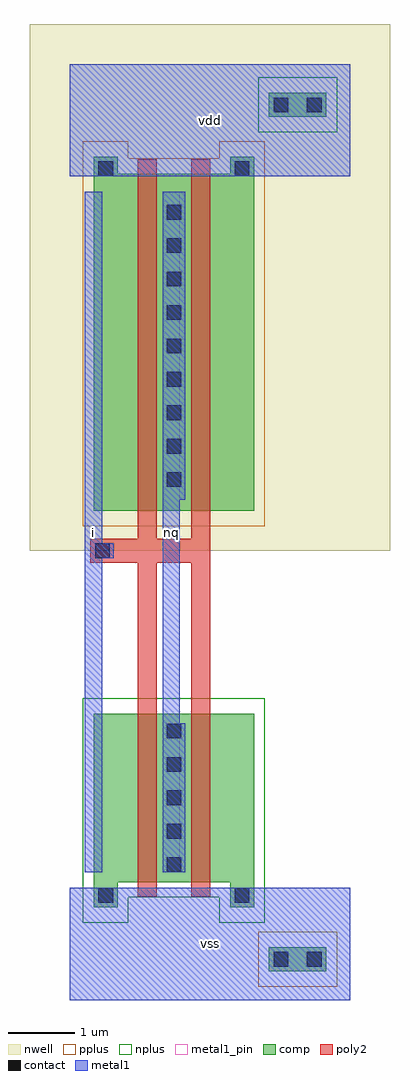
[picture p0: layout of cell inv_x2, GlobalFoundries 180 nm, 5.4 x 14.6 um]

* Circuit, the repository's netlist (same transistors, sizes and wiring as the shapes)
* inv_x2
.subckt inv_x2 vdd vss i nq
Mn0 vss i nq vss nfet_03v3 l=0.28um w=2.52um
Mn1 nq i vss vss nfet_03v3 l=0.28um w=2.52um
Mp0 vdd i nq vdd pfet_03v3 l=0.28um w=5.04um
Mp1 nq i vdd vdd pfet_03v3 l=0.28um w=5.04um
.ends inv_x2

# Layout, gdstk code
import gdstk
lib = gdstk.Library(unit=1e-6, precision=1e-09)
def R(c, l, rs):  # rectangles x0, y0, x1, y1
    for r in rs: c.add(gdstk.rectangle(r[:2], r[2:], *l))
def A(c, l, x, y, w, h, nx, ny, dx, dy):  # array of equal rectangles
    R(c, l, [(x+i*dx, y+j*dy, x+i*dx+w, y+j*dy+h) for i in range(nx) for j in range(ny)])
def P(c, l, *ps):  # polygons
    for p in ps: c.add(gdstk.Polygon(p, *l))
nwell = (21, 0)
comp = (22, 0)
poly2 = (30, 0)
pplus = (31, 0)
nplus = (32, 0)
contact = (33, 0)
metal1 = (34, 0)
metal1_pin = (34, 10)

inv_x2 = lib.new_cell('inv_x2')
R(inv_x2, nwell, [(-0.6,6.72,4.8,14.6)])
R(inv_x2, comp, [(2.98,0.43,3.84,0.79), (2.98,13.21,3.84,13.57)])
P(inv_x2, comp, [(0.36,1.385),(0.36,4.285),(2.76,4.285),(2.76,1.385),(2.4,1.385),(2.4,1.765),(0.72,1.765),(0.72,1.385)],
  [(0.36,7.32),(0.36,12.615),(0.72,12.615),(0.72,12.36),(2.4,12.36),(2.4,12.615),(2.76,12.615),(2.76,7.32)])
P(inv_x2, poly2, [(1.02,1.545),(1.02,6.54),(0.31,6.54),(0.31,6.9),(1.02,6.9),(1.02,12.58),(1.3,12.58),(1.3,6.9),(1.82,6.9),(1.82,12.58),(2.1,12.58),(2.1,1.545),(1.82,1.545),(1.82,6.54),(1.3,6.54),(1.3,1.545)])
R(inv_x2, pplus, [(2.82,0.2,4,1.02)])
P(inv_x2, pplus, [(0.2,7.09),(0.2,12.845),(0.88,12.845),(0.88,12.59),(2.24,12.59),(2.24,12.845),(2.92,12.845),(2.92,7.09)])
R(inv_x2, nplus, [(2.82,12.98,4,13.8)])
P(inv_x2, nplus, [(0.2,1.155),(0.2,4.515),(2.92,4.515),(2.92,1.155),(2.24,1.155),(2.24,1.535),(0.88,1.535),(0.88,1.155)])
A(inv_x2, contact, 1.45, 1.915, 0.22, 0.22, 1, 5, 0, 0.5)
A(inv_x2, contact, 1.45, 7.675, 0.22, 0.22, 1, 9, 0, 0.5)
R(inv_x2, contact, [(3.05,0.5,3.27,0.72), (3.55,0.5,3.77,0.72), (0.43,1.455,0.65,1.675), (2.47,1.455,2.69,1.675), (0.38,6.61,0.6,6.83), (0.43,12.325,0.65,12.545), (2.47,12.325,2.69,12.545), (3.05,13.28,3.27,13.5), (3.55,13.28,3.77,13.5)])
R(inv_x2, metal1, [(0,0,4.2,1.68), (0,12.32,4.2,14)])
P(inv_x2, metal1, [(0.23,1.91),(0.23,12.09),(0.49,12.09),(0.49,6.835),(0.66,6.835),(0.66,6.605),(0.49,6.605),(0.49,1.91)],
  [(1.39,1.91),(1.39,12.09),(1.73,12.09),(1.73,7.48),(1.65,7.48),(1.65,4.14),(1.73,4.14),(1.73,1.91)])
R(inv_x2, metal1_pin, [(0,0,4.2,1.68), (0.23,1.91,0.49,12.09), (1.39,1.91,1.65,12.09), (0,12.32,4.2,14)])
inv_x2.add(gdstk.Label('i', (0.36,7), layer=34, texttype=10))
inv_x2.add(gdstk.Label('vss', (2.1,0.84), layer=34, texttype=10))
inv_x2.add(gdstk.Label('vdd', (2.1,13.16), layer=34, texttype=10))
inv_x2.add(gdstk.Label('nq', (1.52,7), layer=34, texttype=10))

lib.write_gds('inv_x2.gds')
